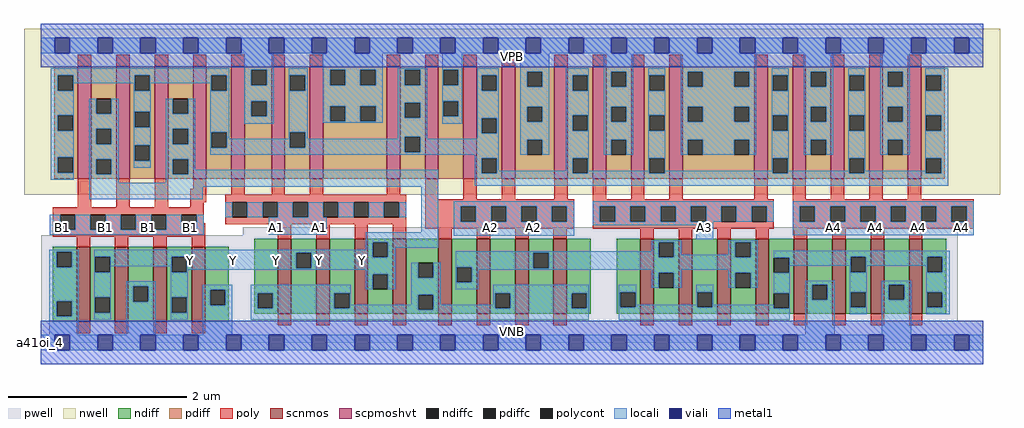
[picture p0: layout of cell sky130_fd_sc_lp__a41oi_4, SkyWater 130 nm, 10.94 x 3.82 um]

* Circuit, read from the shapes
.subckt sky130_fd_sc_lp__a41oi_4 A1 A2 A3 A4 B1 VGND VNB VPB VPWR Y
XM1 Y B1 VGND VNB sky130_fd_pr__nfet_01v8 w=0.84 l=0.15 m=4
XM2 Y A1 n1 VNB sky130_fd_pr__nfet_01v8 w=0.84 l=0.15 m=4
XM3 n2 A2 n1 VNB sky130_fd_pr__nfet_01v8 w=0.84 l=0.15 m=4
XM4 n2 A3 n3 VNB sky130_fd_pr__nfet_01v8 w=0.84 l=0.15 m=4
XM5 VGND A4 n3 VNB sky130_fd_pr__nfet_01v8 w=0.84 l=0.15 m=4
XM6 Y B1 n4 VPB sky130_fd_pr__pfet_01v8_hvt w=1.26 l=0.15 m=4
XM7 VPWR A1 n4 VPB sky130_fd_pr__pfet_01v8_hvt w=1.26 l=0.15 m=4
XM8 VPWR A2 n4 VPB sky130_fd_pr__pfet_01v8_hvt w=1.26 l=0.15 m=4
XM9 VPWR A3 n4 VPB sky130_fd_pr__pfet_01v8_hvt w=1.26 l=0.15 m=4
XM10 VPWR A4 n4 VPB sky130_fd_pr__pfet_01v8_hvt w=1.26 l=0.15 m=4
.ends

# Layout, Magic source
magic
tech sky130A
magscale 1 2
<< nwell >>
rect -38 331 2150 704
<< pwell >>
rect 452 241 2055 259
rect 1 49 2055 241
rect 0 0 2112 49
<< scnmos >>
rect 80 47 110 215
rect 166 47 196 215
rect 252 47 282 215
rect 338 47 368 215
rect 531 65 561 233
rect 617 65 647 233
rect 703 65 733 233
rect 789 65 819 233
rect 891 65 921 233
rect 977 65 1007 233
rect 1063 65 1093 233
rect 1149 65 1179 233
rect 1344 65 1374 233
rect 1430 65 1460 233
rect 1516 65 1546 233
rect 1602 65 1632 233
rect 1688 65 1718 233
rect 1774 65 1804 233
rect 1860 65 1890 233
rect 1946 65 1976 233
<< scpmoshvt >>
rect 83 367 113 619
rect 169 367 199 619
rect 255 367 285 619
rect 341 367 371 619
rect 427 367 457 619
rect 517 367 547 619
rect 603 367 633 619
rect 775 367 805 619
rect 861 367 891 619
rect 947 367 977 619
rect 1033 367 1063 619
rect 1151 367 1181 619
rect 1237 367 1267 619
rect 1323 367 1353 619
rect 1409 367 1439 619
rect 1599 367 1629 619
rect 1685 367 1715 619
rect 1771 367 1801 619
rect 1857 367 1887 619
rect 1943 367 1973 619
<< ndiff >>
rect 27 203 80 215
rect 27 169 35 203
rect 69 169 80 203
rect 27 93 80 169
rect 27 59 35 93
rect 69 59 80 93
rect 27 47 80 59
rect 110 192 166 215
rect 110 158 121 192
rect 155 158 166 192
rect 110 101 166 158
rect 110 67 121 101
rect 155 67 166 101
rect 110 47 166 67
rect 196 126 252 215
rect 196 92 207 126
rect 241 92 252 126
rect 196 47 252 92
rect 282 192 338 215
rect 282 158 293 192
rect 327 158 338 192
rect 282 101 338 158
rect 282 67 293 101
rect 327 67 338 101
rect 282 47 338 67
rect 368 118 421 215
rect 368 84 379 118
rect 413 84 421 118
rect 368 47 421 84
rect 478 111 531 233
rect 478 77 486 111
rect 520 77 531 111
rect 478 65 531 77
rect 561 201 617 233
rect 561 167 572 201
rect 606 167 617 201
rect 561 65 617 167
rect 647 111 703 233
rect 647 77 658 111
rect 692 77 703 111
rect 647 65 703 77
rect 733 225 789 233
rect 733 191 744 225
rect 778 191 789 225
rect 733 153 789 191
rect 733 119 744 153
rect 778 119 789 153
rect 733 65 789 119
rect 819 179 891 233
rect 819 145 846 179
rect 880 145 891 179
rect 819 107 891 145
rect 819 73 846 107
rect 880 73 891 107
rect 819 65 891 73
rect 921 169 977 233
rect 921 135 932 169
rect 966 135 977 169
rect 921 65 977 135
rect 1007 111 1063 233
rect 1007 77 1018 111
rect 1052 77 1063 111
rect 1007 65 1063 77
rect 1093 201 1149 233
rect 1093 167 1104 201
rect 1138 167 1149 201
rect 1093 65 1149 167
rect 1179 111 1232 233
rect 1179 77 1190 111
rect 1224 77 1232 111
rect 1179 65 1232 77
rect 1291 113 1344 233
rect 1291 79 1299 113
rect 1333 79 1344 113
rect 1291 65 1344 79
rect 1374 225 1430 233
rect 1374 191 1385 225
rect 1419 191 1430 225
rect 1374 157 1430 191
rect 1374 123 1385 157
rect 1419 123 1430 157
rect 1374 65 1430 123
rect 1460 113 1516 233
rect 1460 79 1471 113
rect 1505 79 1516 113
rect 1460 65 1516 79
rect 1546 225 1602 233
rect 1546 191 1557 225
rect 1591 191 1602 225
rect 1546 157 1602 191
rect 1546 123 1557 157
rect 1591 123 1602 157
rect 1546 65 1602 123
rect 1632 190 1688 233
rect 1632 156 1643 190
rect 1677 156 1688 190
rect 1632 111 1688 156
rect 1632 77 1643 111
rect 1677 77 1688 111
rect 1632 65 1688 77
rect 1718 130 1774 233
rect 1718 96 1729 130
rect 1763 96 1774 130
rect 1718 65 1774 96
rect 1804 192 1860 233
rect 1804 158 1815 192
rect 1849 158 1860 192
rect 1804 113 1860 158
rect 1804 79 1815 113
rect 1849 79 1860 113
rect 1804 65 1860 79
rect 1890 130 1946 233
rect 1890 96 1901 130
rect 1935 96 1946 130
rect 1890 65 1946 96
rect 1976 192 2029 233
rect 1976 158 1987 192
rect 2021 158 2029 192
rect 1976 113 2029 158
rect 1976 79 1987 113
rect 2021 79 2029 113
rect 1976 65 2029 79
<< pdiff >>
rect 30 599 83 619
rect 30 565 38 599
rect 72 565 83 599
rect 30 509 83 565
rect 30 475 38 509
rect 72 475 83 509
rect 30 415 83 475
rect 30 381 38 415
rect 72 381 83 415
rect 30 367 83 381
rect 113 547 169 619
rect 113 513 124 547
rect 158 513 169 547
rect 113 479 169 513
rect 113 445 124 479
rect 158 445 169 479
rect 113 411 169 445
rect 113 377 124 411
rect 158 377 169 411
rect 113 367 169 377
rect 199 599 255 619
rect 199 565 210 599
rect 244 565 255 599
rect 199 517 255 565
rect 199 483 210 517
rect 244 483 255 517
rect 199 442 255 483
rect 199 408 210 442
rect 244 408 255 442
rect 199 367 255 408
rect 285 547 341 619
rect 285 513 296 547
rect 330 513 341 547
rect 285 479 341 513
rect 285 445 296 479
rect 330 445 341 479
rect 285 411 341 445
rect 285 377 296 411
rect 330 377 341 411
rect 285 367 341 377
rect 371 599 427 619
rect 371 565 382 599
rect 416 565 427 599
rect 371 471 427 565
rect 371 437 382 471
rect 416 437 427 471
rect 371 367 427 437
rect 457 611 517 619
rect 457 577 472 611
rect 506 577 517 611
rect 457 541 517 577
rect 457 507 472 541
rect 506 507 517 541
rect 457 367 517 507
rect 547 599 603 619
rect 547 565 558 599
rect 592 565 603 599
rect 547 471 603 565
rect 547 437 558 471
rect 592 437 603 471
rect 547 367 603 437
rect 633 611 775 619
rect 633 577 648 611
rect 682 577 716 611
rect 750 577 775 611
rect 633 530 775 577
rect 633 496 648 530
rect 682 496 716 530
rect 750 496 775 530
rect 633 367 775 496
rect 805 611 861 619
rect 805 577 816 611
rect 850 577 861 611
rect 805 538 861 577
rect 805 504 816 538
rect 850 504 861 538
rect 805 461 861 504
rect 805 427 816 461
rect 850 427 861 461
rect 805 367 861 427
rect 891 611 947 619
rect 891 577 902 611
rect 936 577 947 611
rect 891 541 947 577
rect 891 507 902 541
rect 936 507 947 541
rect 891 367 947 507
rect 977 599 1033 619
rect 977 565 988 599
rect 1022 565 1033 599
rect 977 503 1033 565
rect 977 469 988 503
rect 1022 469 1033 503
rect 977 413 1033 469
rect 977 379 988 413
rect 1022 379 1033 413
rect 977 367 1033 379
rect 1063 607 1151 619
rect 1063 573 1090 607
rect 1124 573 1151 607
rect 1063 529 1151 573
rect 1063 495 1090 529
rect 1124 495 1151 529
rect 1063 455 1151 495
rect 1063 421 1090 455
rect 1124 421 1151 455
rect 1063 367 1151 421
rect 1181 599 1237 619
rect 1181 565 1192 599
rect 1226 565 1237 599
rect 1181 509 1237 565
rect 1181 475 1192 509
rect 1226 475 1237 509
rect 1181 413 1237 475
rect 1181 379 1192 413
rect 1226 379 1237 413
rect 1181 367 1237 379
rect 1267 607 1323 619
rect 1267 573 1278 607
rect 1312 573 1323 607
rect 1267 529 1323 573
rect 1267 495 1278 529
rect 1312 495 1323 529
rect 1267 455 1323 495
rect 1267 421 1278 455
rect 1312 421 1323 455
rect 1267 367 1323 421
rect 1353 599 1409 619
rect 1353 565 1364 599
rect 1398 565 1409 599
rect 1353 509 1409 565
rect 1353 475 1364 509
rect 1398 475 1409 509
rect 1353 413 1409 475
rect 1353 379 1364 413
rect 1398 379 1409 413
rect 1353 367 1409 379
rect 1439 607 1599 619
rect 1439 573 1450 607
rect 1484 573 1554 607
rect 1588 573 1599 607
rect 1439 529 1599 573
rect 1439 495 1450 529
rect 1484 495 1554 529
rect 1588 495 1599 529
rect 1439 455 1599 495
rect 1439 421 1450 455
rect 1484 421 1554 455
rect 1588 421 1599 455
rect 1439 367 1599 421
rect 1629 599 1685 619
rect 1629 565 1640 599
rect 1674 565 1685 599
rect 1629 509 1685 565
rect 1629 475 1640 509
rect 1674 475 1685 509
rect 1629 413 1685 475
rect 1629 379 1640 413
rect 1674 379 1685 413
rect 1629 367 1685 379
rect 1715 607 1771 619
rect 1715 573 1726 607
rect 1760 573 1771 607
rect 1715 529 1771 573
rect 1715 495 1726 529
rect 1760 495 1771 529
rect 1715 455 1771 495
rect 1715 421 1726 455
rect 1760 421 1771 455
rect 1715 367 1771 421
rect 1801 599 1857 619
rect 1801 565 1812 599
rect 1846 565 1857 599
rect 1801 509 1857 565
rect 1801 475 1812 509
rect 1846 475 1857 509
rect 1801 413 1857 475
rect 1801 379 1812 413
rect 1846 379 1857 413
rect 1801 367 1857 379
rect 1887 607 1943 619
rect 1887 573 1898 607
rect 1932 573 1943 607
rect 1887 529 1943 573
rect 1887 495 1898 529
rect 1932 495 1943 529
rect 1887 455 1943 495
rect 1887 421 1898 455
rect 1932 421 1943 455
rect 1887 367 1943 421
rect 1973 599 2026 619
rect 1973 565 1984 599
rect 2018 565 2026 599
rect 1973 509 2026 565
rect 1973 475 1984 509
rect 2018 475 2026 509
rect 1973 413 2026 475
rect 1973 379 1984 413
rect 2018 379 2026 413
rect 1973 367 2026 379
<< ndiffc >>
rect 35 169 69 203
rect 35 59 69 93
rect 121 158 155 192
rect 121 67 155 101
rect 207 92 241 126
rect 293 158 327 192
rect 293 67 327 101
rect 379 84 413 118
rect 486 77 520 111
rect 572 167 606 201
rect 658 77 692 111
rect 744 191 778 225
rect 744 119 778 153
rect 846 145 880 179
rect 846 73 880 107
rect 932 135 966 169
rect 1018 77 1052 111
rect 1104 167 1138 201
rect 1190 77 1224 111
rect 1299 79 1333 113
rect 1385 191 1419 225
rect 1385 123 1419 157
rect 1471 79 1505 113
rect 1557 191 1591 225
rect 1557 123 1591 157
rect 1643 156 1677 190
rect 1643 77 1677 111
rect 1729 96 1763 130
rect 1815 158 1849 192
rect 1815 79 1849 113
rect 1901 96 1935 130
rect 1987 158 2021 192
rect 1987 79 2021 113
<< pdiffc >>
rect 38 565 72 599
rect 38 475 72 509
rect 38 381 72 415
rect 124 513 158 547
rect 124 445 158 479
rect 124 377 158 411
rect 210 565 244 599
rect 210 483 244 517
rect 210 408 244 442
rect 296 513 330 547
rect 296 445 330 479
rect 296 377 330 411
rect 382 565 416 599
rect 382 437 416 471
rect 472 577 506 611
rect 472 507 506 541
rect 558 565 592 599
rect 558 437 592 471
rect 648 577 682 611
rect 716 577 750 611
rect 648 496 682 530
rect 716 496 750 530
rect 816 577 850 611
rect 816 504 850 538
rect 816 427 850 461
rect 902 577 936 611
rect 902 507 936 541
rect 988 565 1022 599
rect 988 469 1022 503
rect 988 379 1022 413
rect 1090 573 1124 607
rect 1090 495 1124 529
rect 1090 421 1124 455
rect 1192 565 1226 599
rect 1192 475 1226 509
rect 1192 379 1226 413
rect 1278 573 1312 607
rect 1278 495 1312 529
rect 1278 421 1312 455
rect 1364 565 1398 599
rect 1364 475 1398 509
rect 1364 379 1398 413
rect 1450 573 1484 607
rect 1554 573 1588 607
rect 1450 495 1484 529
rect 1554 495 1588 529
rect 1450 421 1484 455
rect 1554 421 1588 455
rect 1640 565 1674 599
rect 1640 475 1674 509
rect 1640 379 1674 413
rect 1726 573 1760 607
rect 1726 495 1760 529
rect 1726 421 1760 455
rect 1812 565 1846 599
rect 1812 475 1846 509
rect 1812 379 1846 413
rect 1898 573 1932 607
rect 1898 495 1932 529
rect 1898 421 1932 455
rect 1984 565 2018 599
rect 1984 475 2018 509
rect 1984 379 2018 413
<< poly >>
rect 83 619 113 645
rect 169 619 199 645
rect 255 619 285 645
rect 341 619 371 645
rect 427 619 457 645
rect 517 619 547 645
rect 603 619 633 645
rect 775 619 805 645
rect 861 619 891 645
rect 947 619 977 645
rect 1033 619 1063 645
rect 1151 619 1181 645
rect 1237 619 1267 645
rect 1323 619 1353 645
rect 1409 619 1439 645
rect 1599 619 1629 645
rect 1685 619 1715 645
rect 1771 619 1801 645
rect 1857 619 1887 645
rect 1943 619 1973 645
rect 83 303 113 367
rect 169 303 199 367
rect 255 303 285 367
rect 341 345 371 367
rect 335 315 371 345
rect 427 331 457 367
rect 517 331 547 367
rect 603 331 633 367
rect 775 331 805 367
rect 413 315 819 331
rect 335 303 365 315
rect 27 287 365 303
rect 27 253 43 287
rect 77 253 111 287
rect 145 253 179 287
rect 213 253 247 287
rect 281 253 315 287
rect 349 267 365 287
rect 413 281 429 315
rect 463 281 497 315
rect 531 281 565 315
rect 599 281 633 315
rect 667 281 701 315
rect 735 281 769 315
rect 803 281 819 315
rect 349 253 368 267
rect 413 265 819 281
rect 27 237 368 253
rect 80 215 110 237
rect 166 215 196 237
rect 252 215 282 237
rect 338 215 368 237
rect 531 233 561 265
rect 617 233 647 265
rect 703 233 733 265
rect 789 233 819 265
rect 861 321 891 367
rect 947 321 977 367
rect 1033 321 1063 367
rect 1151 321 1181 367
rect 1237 321 1267 367
rect 1323 321 1353 367
rect 1409 321 1439 367
rect 1599 321 1629 367
rect 1685 321 1715 367
rect 1771 321 1801 367
rect 1857 321 1887 367
rect 1943 321 1973 367
rect 861 305 1195 321
rect 861 271 941 305
rect 975 271 1009 305
rect 1043 271 1077 305
rect 1111 271 1145 305
rect 1179 271 1195 305
rect 861 255 1195 271
rect 1237 305 1643 321
rect 1237 271 1253 305
rect 1287 271 1321 305
rect 1355 271 1389 305
rect 1423 271 1457 305
rect 1491 271 1525 305
rect 1559 271 1593 305
rect 1627 271 1643 305
rect 1237 255 1643 271
rect 1685 305 2091 321
rect 1685 271 1701 305
rect 1735 271 1769 305
rect 1803 271 1837 305
rect 1871 271 1905 305
rect 1939 271 1973 305
rect 2007 271 2041 305
rect 2075 271 2091 305
rect 1685 255 2091 271
rect 891 233 921 255
rect 977 233 1007 255
rect 1063 233 1093 255
rect 1149 233 1179 255
rect 1344 233 1374 255
rect 1430 233 1460 255
rect 1516 233 1546 255
rect 1602 233 1632 255
rect 1688 233 1718 255
rect 1774 233 1804 255
rect 1860 233 1890 255
rect 1946 233 1976 255
rect 80 21 110 47
rect 166 21 196 47
rect 252 21 282 47
rect 338 21 368 47
rect 531 39 561 65
rect 617 39 647 65
rect 703 39 733 65
rect 789 39 819 65
rect 891 39 921 65
rect 977 39 1007 65
rect 1063 39 1093 65
rect 1149 39 1179 65
rect 1344 39 1374 65
rect 1430 39 1460 65
rect 1516 39 1546 65
rect 1602 39 1632 65
rect 1688 39 1718 65
rect 1774 39 1804 65
rect 1860 39 1890 65
rect 1946 39 1976 65
<< polycont >>
rect 43 253 77 287
rect 111 253 145 287
rect 179 253 213 287
rect 247 253 281 287
rect 315 253 349 287
rect 429 281 463 315
rect 497 281 531 315
rect 565 281 599 315
rect 633 281 667 315
rect 701 281 735 315
rect 769 281 803 315
rect 941 271 975 305
rect 1009 271 1043 305
rect 1077 271 1111 305
rect 1145 271 1179 305
rect 1253 271 1287 305
rect 1321 271 1355 305
rect 1389 271 1423 305
rect 1457 271 1491 305
rect 1525 271 1559 305
rect 1593 271 1627 305
rect 1701 271 1735 305
rect 1769 271 1803 305
rect 1837 271 1871 305
rect 1905 271 1939 305
rect 1973 271 2007 305
rect 2041 271 2075 305
<< locali >>
rect 0 649 31 683
rect 65 649 127 683
rect 161 649 223 683
rect 257 649 319 683
rect 353 649 415 683
rect 449 649 511 683
rect 545 649 607 683
rect 641 649 703 683
rect 737 649 799 683
rect 833 649 895 683
rect 929 649 991 683
rect 1025 649 1087 683
rect 1121 649 1183 683
rect 1217 649 1279 683
rect 1313 649 1375 683
rect 1409 649 1471 683
rect 1505 649 1567 683
rect 1601 649 1663 683
rect 1697 649 1759 683
rect 1793 649 1855 683
rect 1889 649 1951 683
rect 1985 649 2047 683
rect 2081 649 2112 683
rect 22 599 422 615
rect 22 565 38 599
rect 72 581 210 599
rect 72 565 74 581
rect 22 509 74 565
rect 208 565 210 581
rect 244 581 382 599
rect 244 565 246 581
rect 22 475 38 509
rect 72 475 74 509
rect 22 415 74 475
rect 22 381 38 415
rect 72 381 74 415
rect 22 365 74 381
rect 108 513 124 547
rect 158 513 174 547
rect 108 479 174 513
rect 108 445 124 479
rect 158 445 174 479
rect 108 411 174 445
rect 108 377 124 411
rect 158 377 174 411
rect 208 517 246 565
rect 380 565 382 581
rect 416 565 422 599
rect 208 483 210 517
rect 244 483 246 517
rect 208 442 246 483
rect 208 408 210 442
rect 244 408 246 442
rect 208 392 246 408
rect 280 513 296 547
rect 330 513 346 547
rect 280 479 346 513
rect 280 445 296 479
rect 330 445 346 479
rect 280 411 346 445
rect 380 471 422 565
rect 456 611 522 649
rect 456 577 472 611
rect 506 577 522 611
rect 456 541 522 577
rect 456 507 472 541
rect 506 507 522 541
rect 456 491 522 507
rect 556 599 598 615
rect 556 565 558 599
rect 592 565 598 599
rect 380 437 382 471
rect 416 457 422 471
rect 556 471 598 565
rect 632 611 766 649
rect 632 577 648 611
rect 682 577 716 611
rect 750 577 766 611
rect 632 530 766 577
rect 632 496 648 530
rect 682 496 716 530
rect 750 496 766 530
rect 632 493 766 496
rect 800 611 866 615
rect 800 577 816 611
rect 850 577 866 611
rect 800 538 866 577
rect 800 504 816 538
rect 850 504 866 538
rect 556 457 558 471
rect 416 437 558 457
rect 592 457 598 471
rect 800 461 866 504
rect 900 611 944 649
rect 900 577 902 611
rect 936 577 944 611
rect 900 541 944 577
rect 900 507 902 541
rect 936 507 944 541
rect 900 491 944 507
rect 978 599 1026 615
rect 978 565 988 599
rect 1022 565 1026 599
rect 978 503 1026 565
rect 800 457 816 461
rect 592 437 816 457
rect 380 427 816 437
rect 850 457 866 461
rect 978 469 988 503
rect 1022 469 1026 503
rect 978 457 1026 469
rect 850 427 1026 457
rect 380 421 1026 427
rect 1074 607 1140 649
rect 1074 573 1090 607
rect 1124 573 1140 607
rect 1074 529 1140 573
rect 1074 495 1090 529
rect 1124 495 1140 529
rect 1074 455 1140 495
rect 1074 421 1090 455
rect 1124 421 1140 455
rect 1176 599 1228 615
rect 1176 565 1192 599
rect 1226 565 1228 599
rect 1176 509 1228 565
rect 1176 475 1192 509
rect 1226 475 1228 509
rect 108 358 174 377
rect 280 377 296 411
rect 330 387 346 411
rect 972 413 1026 421
rect 330 377 891 387
rect 280 358 891 377
rect 108 349 891 358
rect 972 379 988 413
rect 1022 385 1026 413
rect 1176 413 1228 475
rect 1262 607 1328 649
rect 1262 573 1278 607
rect 1312 573 1328 607
rect 1262 529 1328 573
rect 1262 495 1278 529
rect 1312 495 1328 529
rect 1262 455 1328 495
rect 1262 421 1278 455
rect 1312 421 1328 455
rect 1362 599 1400 615
rect 1362 565 1364 599
rect 1398 565 1400 599
rect 1362 509 1400 565
rect 1362 475 1364 509
rect 1398 475 1400 509
rect 1176 385 1192 413
rect 1022 379 1192 385
rect 1226 385 1228 413
rect 1362 413 1400 475
rect 1434 607 1604 649
rect 1434 573 1450 607
rect 1484 573 1554 607
rect 1588 573 1604 607
rect 1434 529 1604 573
rect 1434 495 1450 529
rect 1484 495 1554 529
rect 1588 495 1604 529
rect 1434 455 1604 495
rect 1434 421 1450 455
rect 1484 421 1554 455
rect 1588 421 1604 455
rect 1638 599 1676 615
rect 1638 565 1640 599
rect 1674 565 1676 599
rect 1638 509 1676 565
rect 1638 475 1640 509
rect 1674 475 1676 509
rect 1362 385 1364 413
rect 1226 379 1364 385
rect 1398 385 1400 413
rect 1638 413 1676 475
rect 1710 607 1776 649
rect 1710 573 1726 607
rect 1760 573 1776 607
rect 1710 529 1776 573
rect 1710 495 1726 529
rect 1760 495 1776 529
rect 1710 455 1776 495
rect 1710 421 1726 455
rect 1760 421 1776 455
rect 1810 599 1848 615
rect 1810 565 1812 599
rect 1846 565 1848 599
rect 1810 509 1848 565
rect 1810 475 1812 509
rect 1846 475 1848 509
rect 1638 385 1640 413
rect 1398 379 1640 385
rect 1674 385 1676 413
rect 1810 413 1848 475
rect 1882 607 1948 649
rect 1882 573 1898 607
rect 1932 573 1948 607
rect 1882 529 1948 573
rect 1882 495 1898 529
rect 1932 495 1948 529
rect 1882 455 1948 495
rect 1882 421 1898 455
rect 1932 421 1948 455
rect 1982 599 2034 615
rect 1982 565 1984 599
rect 2018 565 2034 599
rect 1982 509 2034 565
rect 1982 475 1984 509
rect 2018 475 2034 509
rect 1810 385 1812 413
rect 1674 379 1812 385
rect 1846 385 1848 413
rect 1982 413 2034 475
rect 1982 385 1984 413
rect 1846 379 1984 385
rect 2018 379 2034 413
rect 972 351 2034 379
rect 108 321 363 349
rect 20 253 43 287
rect 77 253 111 287
rect 145 253 179 287
rect 213 253 247 287
rect 281 253 315 287
rect 349 253 365 287
rect 413 281 429 315
rect 463 281 497 315
rect 531 281 565 315
rect 599 281 633 315
rect 667 281 701 315
rect 735 281 769 315
rect 803 281 819 315
rect 20 242 365 253
rect 511 242 641 281
rect 853 247 891 349
rect 728 225 891 247
rect 925 305 1195 317
rect 925 271 941 305
rect 975 271 1009 305
rect 1043 271 1077 305
rect 1111 271 1145 305
rect 1179 271 1195 305
rect 925 239 1195 271
rect 1237 305 1643 317
rect 1237 271 1253 305
rect 1287 271 1321 305
rect 1355 271 1389 305
rect 1423 271 1457 305
rect 1491 271 1525 305
rect 1559 271 1593 305
rect 1627 271 1643 305
rect 1685 305 2091 317
rect 1685 271 1701 305
rect 1735 271 1769 305
rect 1803 271 1837 305
rect 1871 271 1905 305
rect 1939 271 1973 305
rect 2007 271 2041 305
rect 2075 271 2091 305
rect 1237 263 1507 271
rect 1469 231 1507 263
rect 1685 240 2091 271
rect 728 208 744 225
rect 19 203 85 208
rect 19 169 35 203
rect 69 169 85 203
rect 19 93 85 169
rect 19 59 35 93
rect 69 59 85 93
rect 19 17 85 59
rect 119 201 744 208
rect 119 192 572 201
rect 119 158 121 192
rect 155 171 293 192
rect 155 158 157 171
rect 119 101 157 158
rect 291 158 293 171
rect 327 167 572 192
rect 606 191 744 201
rect 778 213 891 225
rect 1369 225 1435 229
rect 778 191 794 213
rect 1369 205 1385 225
rect 606 167 794 191
rect 930 201 1385 205
rect 327 163 794 167
rect 327 158 329 163
rect 119 67 121 101
rect 155 67 157 101
rect 119 51 157 67
rect 191 126 257 137
rect 191 92 207 126
rect 241 92 257 126
rect 191 17 257 92
rect 291 101 329 158
rect 728 153 794 163
rect 291 67 293 101
rect 327 67 329 101
rect 291 51 329 67
rect 363 118 429 129
rect 363 84 379 118
rect 413 84 429 118
rect 363 17 429 84
rect 470 111 694 129
rect 728 119 744 153
rect 778 119 794 153
rect 830 145 846 179
rect 880 145 896 179
rect 470 77 486 111
rect 520 77 658 111
rect 692 85 694 111
rect 830 107 896 145
rect 930 169 1104 201
rect 930 135 932 169
rect 966 167 1104 169
rect 1138 191 1385 201
rect 1419 197 1435 225
rect 1541 225 1607 229
rect 1541 197 1557 225
rect 1419 191 1557 197
rect 1591 191 1607 225
rect 1138 167 1607 191
rect 966 163 1607 167
rect 966 135 980 163
rect 930 119 980 135
rect 1369 157 1435 163
rect 830 85 846 107
rect 692 77 846 85
rect 470 73 846 77
rect 880 85 896 107
rect 1014 111 1228 129
rect 1014 85 1018 111
rect 880 77 1018 85
rect 1052 77 1190 111
rect 1224 77 1228 111
rect 880 73 1228 77
rect 470 51 1228 73
rect 1295 113 1335 129
rect 1369 123 1385 157
rect 1419 123 1435 157
rect 1541 157 1607 163
rect 1295 79 1299 113
rect 1333 85 1335 113
rect 1469 113 1507 129
rect 1541 123 1557 157
rect 1591 123 1607 157
rect 1643 192 2037 206
rect 1643 190 1815 192
rect 1677 172 1815 190
rect 1677 156 1679 172
rect 1469 85 1471 113
rect 1333 79 1471 85
rect 1505 85 1507 113
rect 1643 111 1679 156
rect 1813 158 1815 172
rect 1849 172 1987 192
rect 1849 158 1851 172
rect 1505 79 1643 85
rect 1295 77 1643 79
rect 1677 77 1679 111
rect 1295 51 1679 77
rect 1713 130 1779 138
rect 1713 96 1729 130
rect 1763 96 1779 130
rect 1713 17 1779 96
rect 1813 113 1851 158
rect 1985 158 1987 172
rect 2021 158 2037 192
rect 1813 79 1815 113
rect 1849 79 1851 113
rect 1813 63 1851 79
rect 1885 130 1951 138
rect 1885 96 1901 130
rect 1935 96 1951 130
rect 1885 17 1951 96
rect 1985 113 2037 158
rect 1985 79 1987 113
rect 2021 79 2037 113
rect 1985 63 2037 79
rect 0 -17 31 17
rect 65 -17 127 17
rect 161 -17 223 17
rect 257 -17 319 17
rect 353 -17 415 17
rect 449 -17 511 17
rect 545 -17 607 17
rect 641 -17 703 17
rect 737 -17 799 17
rect 833 -17 895 17
rect 929 -17 991 17
rect 1025 -17 1087 17
rect 1121 -17 1183 17
rect 1217 -17 1279 17
rect 1313 -17 1375 17
rect 1409 -17 1471 17
rect 1505 -17 1567 17
rect 1601 -17 1663 17
rect 1697 -17 1759 17
rect 1793 -17 1855 17
rect 1889 -17 1951 17
rect 1985 -17 2047 17
rect 2081 -17 2112 17
<< viali >>
rect 31 649 65 683
rect 127 649 161 683
rect 223 649 257 683
rect 319 649 353 683
rect 415 649 449 683
rect 511 649 545 683
rect 607 649 641 683
rect 703 649 737 683
rect 799 649 833 683
rect 895 649 929 683
rect 991 649 1025 683
rect 1087 649 1121 683
rect 1183 649 1217 683
rect 1279 649 1313 683
rect 1375 649 1409 683
rect 1471 649 1505 683
rect 1567 649 1601 683
rect 1663 649 1697 683
rect 1759 649 1793 683
rect 1855 649 1889 683
rect 1951 649 1985 683
rect 2047 649 2081 683
rect 31 -17 65 17
rect 127 -17 161 17
rect 223 -17 257 17
rect 319 -17 353 17
rect 415 -17 449 17
rect 511 -17 545 17
rect 607 -17 641 17
rect 703 -17 737 17
rect 799 -17 833 17
rect 895 -17 929 17
rect 991 -17 1025 17
rect 1087 -17 1121 17
rect 1183 -17 1217 17
rect 1279 -17 1313 17
rect 1375 -17 1409 17
rect 1471 -17 1505 17
rect 1567 -17 1601 17
rect 1663 -17 1697 17
rect 1759 -17 1793 17
rect 1855 -17 1889 17
rect 1951 -17 1985 17
rect 2047 -17 2081 17
<< metal1 >>
rect 0 683 2112 715
rect 0 649 31 683
rect 65 649 127 683
rect 161 649 223 683
rect 257 649 319 683
rect 353 649 415 683
rect 449 649 511 683
rect 545 649 607 683
rect 641 649 703 683
rect 737 649 799 683
rect 833 649 895 683
rect 929 649 991 683
rect 1025 649 1087 683
rect 1121 649 1183 683
rect 1217 649 1279 683
rect 1313 649 1375 683
rect 1409 649 1471 683
rect 1505 649 1567 683
rect 1601 649 1663 683
rect 1697 649 1759 683
rect 1793 649 1855 683
rect 1889 649 1951 683
rect 1985 649 2047 683
rect 2081 649 2112 683
rect 0 617 2112 649
rect 0 17 2112 49
rect 0 -17 31 17
rect 65 -17 127 17
rect 161 -17 223 17
rect 257 -17 319 17
rect 353 -17 415 17
rect 449 -17 511 17
rect 545 -17 607 17
rect 641 -17 703 17
rect 737 -17 799 17
rect 833 -17 895 17
rect 929 -17 991 17
rect 1025 -17 1087 17
rect 1121 -17 1183 17
rect 1217 -17 1279 17
rect 1313 -17 1375 17
rect 1409 -17 1471 17
rect 1505 -17 1567 17
rect 1601 -17 1663 17
rect 1697 -17 1759 17
rect 1793 -17 1855 17
rect 1889 -17 1951 17
rect 1985 -17 2047 17
rect 2081 -17 2112 17
rect 0 -49 2112 -17
<< labels >>
flabel pwell s 0 0 2112 49 0 FreeSans 200 0 0 0 VNB
port 7 nsew ground bidirectional
flabel nwell s 0 617 2112 666 0 FreeSans 200 0 0 0 VPB
port 8 nsew power bidirectional
rlabel comment s 0 0 0 0 4 a41oi_4
flabel metal1 s 0 617 2112 666 0 FreeSans 340 0 0 0 VPWR
port 9 nsew power bidirectional
flabel metal1 s 0 0 2112 49 0 FreeSans 340 0 0 0 VGND
port 6 nsew ground bidirectional
flabel locali s 319 168 353 202 0 FreeSans 340 0 0 0 Y
port 10 nsew signal output
flabel locali s 415 168 449 202 0 FreeSans 340 0 0 0 Y
port 10 nsew signal output
flabel locali s 511 168 545 202 0 FreeSans 340 0 0 0 Y
port 10 nsew signal output
flabel locali s 607 168 641 202 0 FreeSans 340 0 0 0 Y
port 10 nsew signal output
flabel locali s 703 168 737 202 0 FreeSans 340 0 0 0 Y
port 10 nsew signal output
flabel locali s 511 242 545 276 0 FreeSans 340 0 0 0 A1
port 1 nsew signal input
flabel locali s 607 242 641 276 0 FreeSans 340 0 0 0 A1
port 1 nsew signal input
flabel locali s 991 242 1025 276 0 FreeSans 340 0 0 0 A2
port 2 nsew signal input
flabel locali s 1087 242 1121 276 0 FreeSans 340 0 0 0 A2
port 2 nsew signal input
flabel locali s 1471 242 1505 276 0 FreeSans 340 0 0 0 A3
port 3 nsew signal input
flabel locali s 1759 242 1793 276 0 FreeSans 340 0 0 0 A4
port 4 nsew signal input
flabel locali s 1855 242 1889 276 0 FreeSans 340 0 0 0 A4
port 4 nsew signal input
flabel locali s 1951 242 1985 276 0 FreeSans 340 0 0 0 A4
port 4 nsew signal input
flabel locali s 2047 242 2081 276 0 FreeSans 340 0 0 0 A4
port 4 nsew signal input
flabel locali s 31 242 65 276 0 FreeSans 340 0 0 0 B1
port 5 nsew signal input
flabel locali s 127 242 161 276 0 FreeSans 340 0 0 0 B1
port 5 nsew signal input
flabel locali s 223 242 257 276 0 FreeSans 340 0 0 0 B1
port 5 nsew signal input
flabel locali s 319 242 353 276 0 FreeSans 340 0 0 0 B1
port 5 nsew signal input
<< properties >>
string LEFsite unit
string LEFclass CORE
string FIXED_BBOX 0 0 2112 666
string GDS_FILE $PDKPATH/libs.ref/sky130_fd_sc_lp/gds/sky130_fd_sc_lp.gds
string LEFsymmetry X Y R90
string GDS_END 1373272
string GDS_START 1355166
<< end >>
